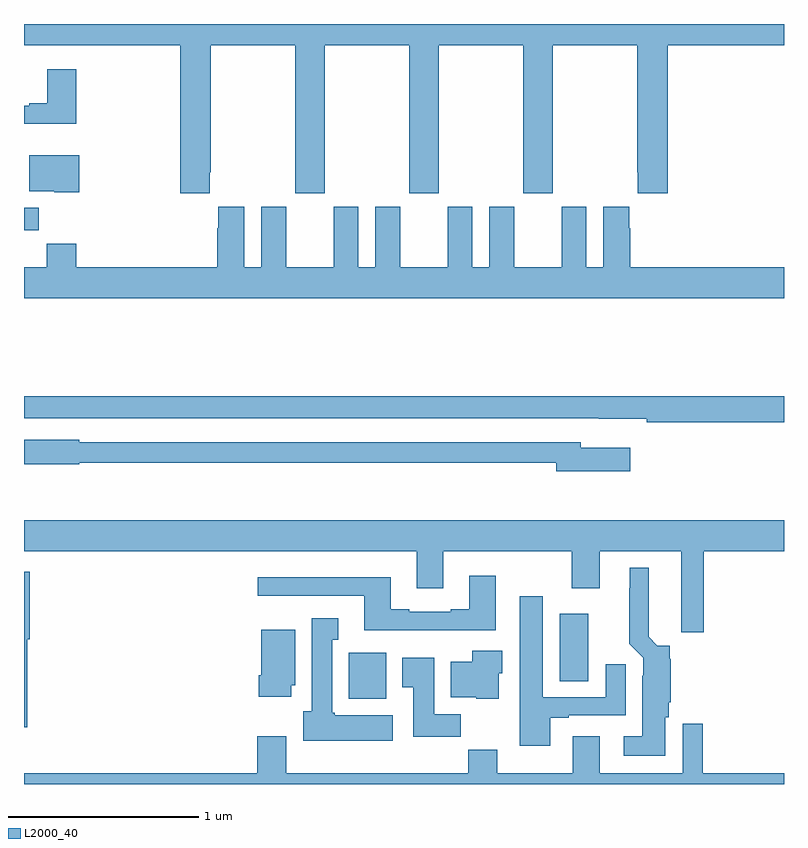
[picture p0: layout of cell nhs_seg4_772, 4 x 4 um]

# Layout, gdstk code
import gdstk
lib = gdstk.Library(unit=1e-6, precision=1e-09)
def R(c, l, rs):  # rectangles x0, y0, x1, y1
    for r in rs: c.add(gdstk.rectangle(r[:2], r[2:], *l))
def P(c, l, *ps):  # polygons
    for p in ps: c.add(gdstk.Polygon(p, *l))
L2000_40 = (2000, 40)

nhs_seg4_772 = lib.new_cell('nhs_seg4_772')
R(nhs_seg4_772, L2000_40, [(150.71,825.35,150.907,825.592), (151.82,825.442,151.969,825.796), (149,827.814,149.078,827.932)])
P(nhs_seg4_772, L2000_40, [(152.227,828.121),(152.231,828.121),(152.231,828.009),(152.387,828.009),(152.387,828.788),(153,828.788),(153,828.9),(149,828.9),(149,828.788),(149.822,828.788),(149.822,828.009),(149.977,828.009),(149.977,828.121),(149.982,828.121),(149.982,828.788),(150.427,828.788),(150.427,828.009),(150.582,828.009),(150.582,828.788),(151.027,828.788),(151.027,828.009),(151.182,828.009),(151.182,828.788),(151.627,828.788),(151.627,828.009),(151.782,828.009),(151.782,828.788),(152.227,828.788)],
  [(149.276,828.661),(149.123,828.661),(149.123,828.484),(149.027,828.484),(149.027,828.471),(149,828.471),(149,828.374),(149.276,828.374)],
  [(149.291,828.208),(149.027,828.208),(149.027,828.02),(149.16,828.02),(149.16,828.014),(149.291,828.014)],
  [(153,827.62),(152.192,827.62),(152.192,827.825),(152.185,827.825),(152.185,827.938),(152.048,827.938),(152.048,827.62),(151.96,827.62),(151.96,827.938),(151.829,827.938),(151.829,827.62),(151.579,827.62),(151.579,827.938),(151.448,827.938),(151.448,827.62),(151.36,827.62),(151.36,827.938),(151.229,827.938),(151.229,827.62),(150.979,827.62),(150.979,827.938),(150.848,827.938),(150.848,827.62),(150.76,827.62),(150.76,827.938),(150.629,827.938),(150.629,827.62),(150.379,827.62),(150.379,827.938),(150.248,827.938),(150.248,827.62),(150.16,827.62),(150.16,827.938),(150.023,827.938),(150.023,827.825),(150.017,827.825),(150.017,827.62),(149.276,827.62),(149.276,827.744),(149.119,827.744),(149.119,827.62),(149,827.62),(149,827.456),(153,827.456)],
  [(153,826.94),(149,826.94),(149,826.824),(152.026,826.824),(152.026,826.823),(152.278,826.823),(152.278,826.804),(153,826.804)],
  [(152.191,826.669),(151.93,826.669),(151.93,826.698),(149.292,826.698),(149.292,826.711),(149,826.711),(149,826.582),(149.292,826.582),(149.292,826.59),(151.802,826.59),(151.802,826.547),(152.191,826.547)],
  [(152.577,826.124),(153,826.124),(153,826.288),(149,826.288),(149,826.124),(151.067,826.124),(151.067,825.93),(151.207,825.93),(151.207,826.124),(151.882,826.124),(151.882,825.93),(152.029,825.93),(152.029,826.124),(152.459,826.124),(152.459,825.699),(152.577,825.699)],
  [(152.374,825.252),(152.393,825.252),(152.393,825.33),(152.405,825.33),(152.405,825.557),(152.399,825.563),(152.399,825.628),(152.334,825.628),(152.287,825.676),(152.287,826.039),(152.189,826.039),(152.189,825.929),(152.185,825.929),(152.185,825.638),(152.259,825.564),(152.259,825.47),(152.255,825.47),(152.255,825.151),(152.157,825.151),(152.157,825.05),(152.374,825.05)],
  [(149.017,825.662),(149.03,825.662),(149.03,826.018),(149,826.018),(149,825.2),(149.017,825.2)],
  [(151.483,825.997),(151.343,825.997),(151.343,825.82),(151.247,825.82),(151.247,825.807),(151.027,825.807),(151.027,825.82),(150.931,825.82),(150.931,825.988),(150.231,825.988),(150.231,825.891),(150.791,825.891),(150.791,825.71),(151.483,825.71)],
  [(151.771,825.249),(151.867,825.249),(151.867,825.261),(152.167,825.261),(152.167,825.529),(152.063,825.529),(152.063,825.357),(151.729,825.357),(151.729,825.889),(151.61,825.889),(151.61,825.102),(151.771,825.102)],
  [(150.94,825.262),(150.636,825.262),(150.636,825.276),(150.622,825.276),(150.622,825.659),(150.655,825.659),(150.655,825.772),(150.515,825.772),(150.515,825.282),(150.47,825.282),(150.47,825.128),(150.94,825.128)],
  [(150.406,825.42),(150.427,825.42),(150.427,825.712),(150.248,825.712),(150.248,825.472),(150.236,825.472),(150.236,825.36),(150.406,825.36)],
  [(151.498,825.483),(151.516,825.483),(151.516,825.601),(151.358,825.601),(151.358,825.544),(151.247,825.544),(151.247,825.356),(151.38,825.356),(151.38,825.35),(151.498,825.35)],
  [(151.298,825.268),(151.159,825.268),(151.159,825.565),(150.992,825.565),(150.992,825.409),(151.049,825.409),(151.049,825.15),(151.298,825.15)],
  [(153,824.956),(152.572,824.956),(152.572,825.217),(152.466,825.217),(152.466,824.956),(152.029,824.956),(152.029,825.151),(151.889,825.151),(151.889,824.956),(151.491,824.956),(151.491,825.08),(151.339,825.08),(151.339,824.956),(150.379,824.956),(150.379,825.151),(150.227,825.151),(150.227,824.956),(149,824.956),(149,824.9),(153,824.9)])

lib.write_gds('nhs_seg4_772.gds')
